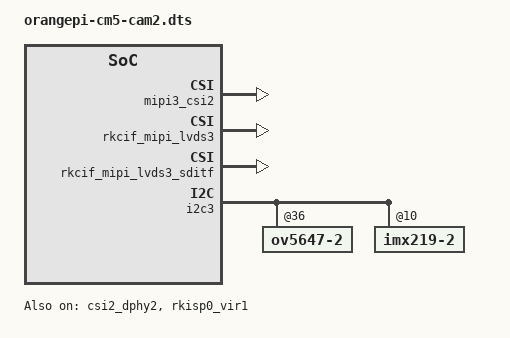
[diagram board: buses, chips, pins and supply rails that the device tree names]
/dts-v1/;
/plugin/;

/ {
	fragment@0 {
		target = <&csi2_dphy2>;

		__overlay__ {
			status = "okay";
		};
	};

	fragment@1 {
		target = <&mipi3_csi2>;

		__overlay__ {
			status = "okay";
		};
	};

	fragment@2 {
		target = <&rkcif_mipi_lvds3>;

		__overlay__ {
			status = "okay";
		};
	};

	fragment@3 {
		target = <&rkcif_mipi_lvds3_sditf>;

		__overlay__ {
			status = "okay";
		};
	};

	fragment@4 {
		target = <&rkisp0_vir1>;

		__overlay__ {
			status = "okay";
		};
	};

	fragment@5 {
		target = <&i2c3>;

		__overlay__ {
			status = "okay";

			ov5647-2@36 {
				status = "okay";
			};

			imx219-2@10 {
				status = "okay";
			};
		};
	};
};
